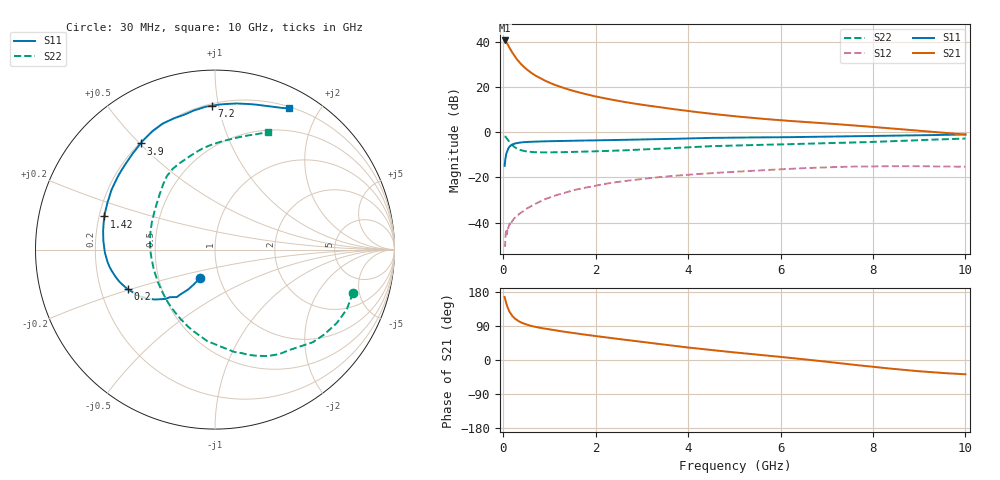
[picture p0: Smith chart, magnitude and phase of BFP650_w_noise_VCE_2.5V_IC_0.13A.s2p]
! Infineon Technologies  Discrete & RF Semiconductors
! BFP650
! VCE =  2.5 V,  IC = 0.13 A
! Common Emitter S-Parameters:  Jan 2016
# GHz  S  MA  R  50
!  f  S11  S21  S12  S22
! GHz  MAG  ANG  MAG  ANG  MAG  ANG  MAG  ANG
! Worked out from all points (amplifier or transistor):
!   229 points, 30 MHz to 10 GHz, reference 50 ohm
!   highest |S21| = 40.6 dB at 30 MHz (marker M1)
!   |S21| within 3 dB of that: start of sweep to 129 MHz
!   unconditionally stable (mu >= 1): 999.3 MHz to end of sweep
!   at 280 MHz: K = 0.73, MSG = 35.1 dB, |S12| = -37.4 dB
!   at 1.78 GHz: K = 1.04, MAG = 19.5 dB, |S12| = -24.5 dB
!   at 10 GHz: K = 1.03, MAG = 6.0 dB, |S12| = -15.3 dB
!   lowest NFmin = 1.69 dB at 450 MHz
!   S11 on the Smith chart (normalised r, x): 30 MHz: 0.81, -0.26; 200 MHz: 0.32, -0.20; 1.42 GHz: 0.22, +0.14; 3.9 GHz: 0.20, +0.50; 7.2 GHz: 0.21, +0.95; 10 GHz: 0.22, +1.63
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0.03  0.1791 -117.9  106.9 166.2  0.0033 89.6  0.8056 -17.4
0.045  0.2469 -122.7  104.1 158.8  0.004 71.2  0.798 -27.7
0.06  0.3175 -127.8  100.8 152.2  0.0064 47.4  0.7706 -37.9
0.08  0.3647 -133.4  93.52 144.0  0.0055 56.2  0.7204 -48.3
0.1  0.4119 -137.8  86.17 137.2  0.0064 63.5  0.6836 -58.4
0.125  0.4609 -143.7  77 130.2  0.0085 64.3  0.6262 -70.2
0.15  0.4939 -148.2  69.37 124.5  0.0087 64.8  0.5804 -79.3
0.2  0.5342 -155.6  56.82 115.6  0.011 64.1  0.5118 -94.8
0.26  0.5629 -161.7  46.04 108.6  0.013 61.0  0.4567 -108.7
0.34  0.5837 -167.3  36.14 102.0  0.0153 62.9  0.4136 -122.8
0.45  0.6017 -172.9  27.64 95.8  0.0182 64.2  0.3837 -137.0
0.6  0.6137 -178.4  20.79 90.1  0.0229 64.9  0.3657 -150.5
0.9  0.626 173.7  13.82 82.7  0.0328 65.3  0.3566 -167.7
1.42  0.6434 163.3  8.756 72.9  0.0485 61.1  0.3638 174.5
1.7  0.6509 158.3  7.295 68.1  0.0568 58.6  0.3693 167.7
3.4  0.7003 132.0  3.538 41.9  0.1018 39.2  0.4297 136.6
3.9  0.722 125.0  3.027 34.5  0.1124 33.5  0.4573 129.9
5.1  0.7612 111.5  2.205 18.9  0.1342 21.5  0.5101 116.5
6.8  0.7914 95.7  1.61 -1.9  0.1641 4.1  0.5624 98.3
7.2  0.8017 91.3  1.507 -7.3  0.1694 -0.6  0.5757 94.5
8.4  0.8339 76.4  1.208 -23.0  0.1764 -13.9  0.629 80.4
10  0.889 62.3  0.888 -37.7  0.1718 -26.8  0.7211 65.8
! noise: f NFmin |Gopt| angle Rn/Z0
0.45  1.69  0.62  -171  0.06
0.9  1.71  0.63  -164  0.07
1.9  1.86  0.65  -149  0.11
2.4  1.98  0.63  -140  0.17
3.5  2.2  0.63  -118  0.32
